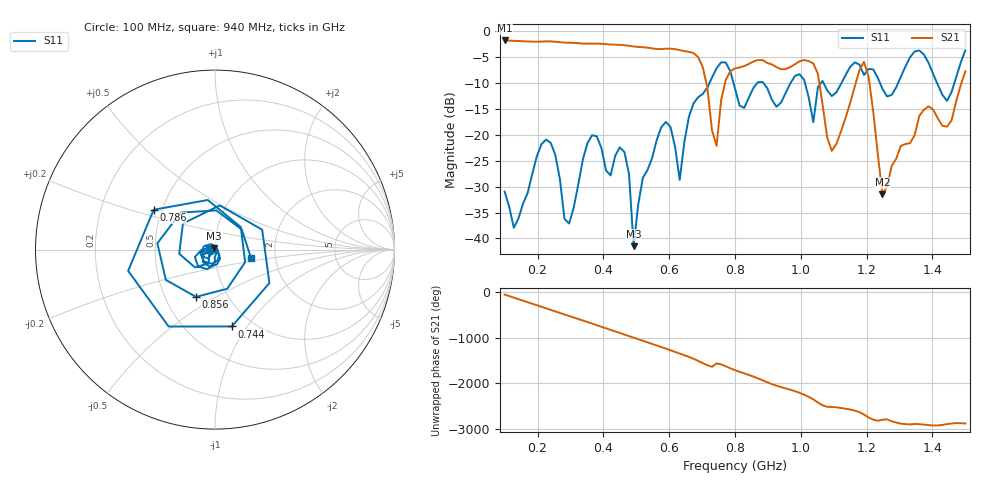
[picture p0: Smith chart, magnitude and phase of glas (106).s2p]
! NanoVNA-App
! Date: 2025-09-25 15:56:18
! Start: 100MHz Stop: 1,5GHz Points: 101
! S-Parameter data: F S11 S21 S12 S22
# Hz S RI R 50
!  Frequency  S11_Real  S11_Imag  S21_Real  S21_Imag  S12_Real  S12_Imag  S22_Real  S22_Imag
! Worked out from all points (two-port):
!   101 points, 100 MHz to 1.5 GHz, reference 50 ohm
!   highest |S21| = -1.80 dB at 100 MHz (marker M1); lowest = -31.5 dB at 1.248 GHz (marker M2)
!   |S21| within 3 dB of the highest: start of sweep to 684.3 MHz
!   lowest |S11| = -41.5 dB at 492 MHz (marker M3), VSWR 1.02, Z = 49.4 + j0.623 ohm
!   |S11| at or under -10 dB: start of sweep to 722.5 MHz; 795.4 MHz to 868 MHz (72.63 MHz wide, 8.73 % of centre); 886.2 MHz to 968.9 MHz (82.74 MHz wide, 8.92 % of centre) (the widest 3 of 7)
!   S12 and S22 are empty: the file has one direction only
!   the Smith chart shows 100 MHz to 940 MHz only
!   S11 on the Smith chart (normalised r, x): 100 MHz: 0.95, -0.01; 744 MHz: 0.80, -0.85; 786 MHz: 0.45, +0.24; 856 MHz: 0.71, -0.41; 940 MHz: 1.49, -0.14
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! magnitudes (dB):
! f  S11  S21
! 100 MHz  -31.0  -1.8
! 128 MHz  -37.9  -1.9
! 226 MHz  -20.9  -2.0
! 296 MHz  -37.1  -2.2
! 338 MHz  -24.7  -2.4
! 464 MHz  -23.3  -2.7
! 492 MHz  -41.5  -3.0
! 576 MHz  -18.5  -3.5
! 632 MHz  -28.7  -3.7
! 702 MHz  -12.1  -6.9
! 744 MHz  -7.2  -22.1
! 786 MHz  -7.8  -7.7
! 800 MHz  -11.1  -7.2
! 856 MHz  -10.9  -5.9
! 940 MHz  -13.8  -7.3
! 996 MHz  -8.3  -5.8
! 1.038 GHz  -17.6  -6.2
! 1.094 GHz  -12.5  -23.1
! 1.192 GHz  -8.5  -5.9
! 1.248 GHz  -11.1  -31.5
! 1.276 GHz  -12.3  -26.0
! 1.5 GHz  -3.7  -7.7
